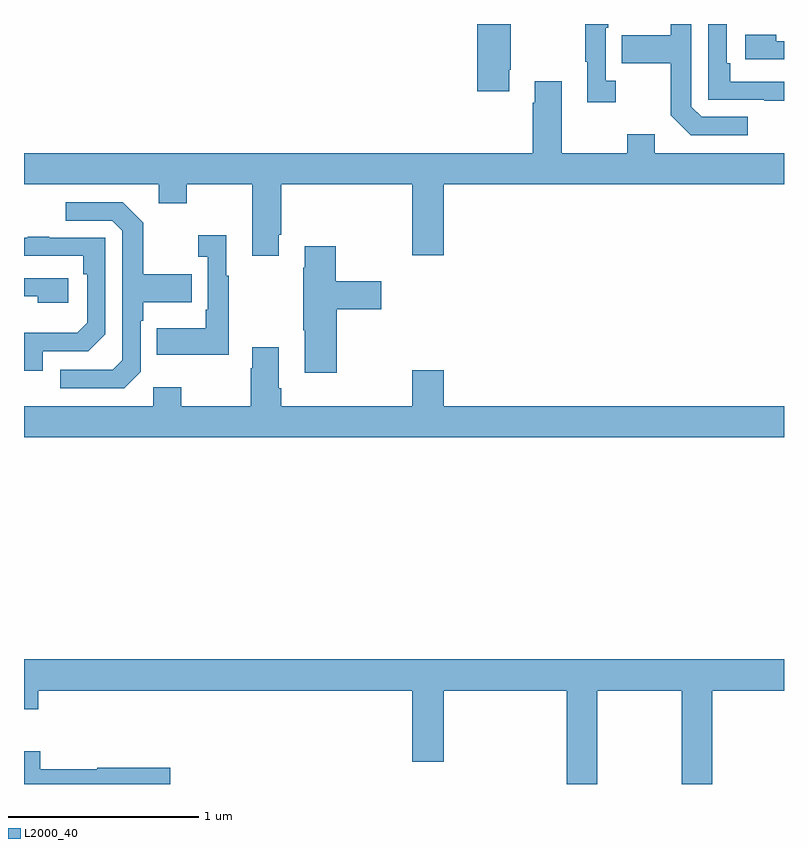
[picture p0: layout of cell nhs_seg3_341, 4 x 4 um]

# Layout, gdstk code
import gdstk
lib = gdstk.Library(unit=1e-6, precision=1e-09)
def P(c, l, *ps):  # polygons
    for p in ps: c.add(gdstk.Polygon(p, *l))
L2000_40 = (2000, 40)

nhs_seg3_341 = lib.new_cell('nhs_seg3_341')
P(nhs_seg3_341, L2000_40, [(130.114,728.102),(130.062,728.102),(130.062,728.381),(130.075,728.381),(130.075,728.4),(129.954,728.4),(129.954,728.201),(129.965,728.201),(129.965,727.989),(130.114,727.989)],
  [(131,728.097),(130.718,728.097),(130.718,728.194),(130.698,728.194),(130.698,728.4),(130.602,728.4),(130.602,728.001),(130.897,728.001),(130.897,727.996),(131,727.996)],
  [(129.553,728.158),(129.561,728.158),(129.561,728.4),(129.386,728.4),(129.386,728.046),(129.553,728.046)],
  [(130.81,727.911),(130.566,727.911),(130.512,727.965),(130.512,728.4),(130.404,728.4),(130.404,728.341),(130.147,728.341),(130.147,728.194),(130.404,728.194),(130.404,727.921),(130.509,727.815),(130.81,727.815)],
  [(131,728.31),(130.958,728.31),(130.958,728.344),(130.797,728.344),(130.797,728.214),(131,728.214)],
  [(128.341,727.291),(128.354,727.291),(128.354,727.556),(129.044,727.556),(129.044,727.182),(129.208,727.182),(129.208,727.556),(131,727.556),(131,727.72),(130.321,727.72),(130.321,727.819),(130.174,727.819),(130.174,727.72),(129.829,727.72),(129.829,728.098),(129.689,728.098),(129.689,727.985),(129.677,727.985),(129.677,727.72),(127,727.72),(127,727.556),(127.709,727.556),(127.709,727.457),(127.857,727.457),(127.857,727.556),(128.201,727.556),(128.201,727.179),(128.341,727.179)],
  [(127.614,726.57),(127.614,726.839),(127.627,726.839),(127.627,726.935),(127.883,726.935),(127.883,727.083),(127.627,727.083),(127.627,727.355),(127.521,727.461),(127.221,727.461),(127.221,727.365),(127.464,727.365),(127.518,727.311),(127.518,726.63),(127.467,726.579),(127.191,726.579),(127.191,726.483),(127.527,726.483)],
  [(128.077,727.075),(128.065,727.075),(128.065,727.288),(127.917,727.288),(127.917,727.175),(127.968,727.175),(127.968,726.895),(127.956,726.895),(127.956,726.799),(127.699,726.799),(127.699,726.659),(128.077,726.659)],
  [(127.098,726.678),(127.338,726.678),(127.428,726.768),(127.428,727.275),(127.133,727.275),(127.133,727.28),(127.021,727.28),(127.021,727.275),(127,727.275),(127,727.179),(127.312,727.179),(127.312,727.082),(127.332,727.082),(127.332,726.828),(127.279,726.775),(127.002,726.775),(127.002,726.672),(127,726.672),(127,726.576),(127.098,726.576)],
  [(128.645,726.899),(128.881,726.899),(128.881,727.046),(128.64,727.046),(128.64,727.231),(128.477,727.231),(128.477,727.118),(128.47,727.118),(128.47,726.787),(128.477,726.787),(128.477,726.564),(128.645,726.564)],
  [(127.234,727.062),(127,727.062),(127,726.966),(127.073,726.966),(127.073,726.932),(127.234,726.932)],
  [(127.68,726.487),(127.68,726.388),(127,726.388),(127,726.224),(131,726.224),(131,726.388),(129.208,726.388),(129.208,726.577),(129.044,726.577),(129.044,726.388),(128.354,726.388),(128.354,726.484),(128.341,726.484),(128.341,726.7),(128.201,726.7),(128.201,726.587),(128.194,726.587),(128.194,726.388),(127.827,726.388),(127.827,726.487)],
  [(130.017,724.892),(130.462,724.892),(130.462,724.4),(130.622,724.4),(130.622,724.892),(131,724.892),(131,725.056),(127,725.056),(127,724.793),(127.076,724.793),(127.076,724.892),(129.044,724.892),(129.044,724.518),(129.208,724.518),(129.208,724.892),(129.857,724.892),(129.857,724.4),(130.017,724.4)],
  [(127.771,724.485),(127.386,724.485),(127.386,724.477),(127.086,724.477),(127.086,724.572),(127,724.572),(127,724.4),(127.771,724.4)])

lib.write_gds('nhs_seg3_341.gds')
